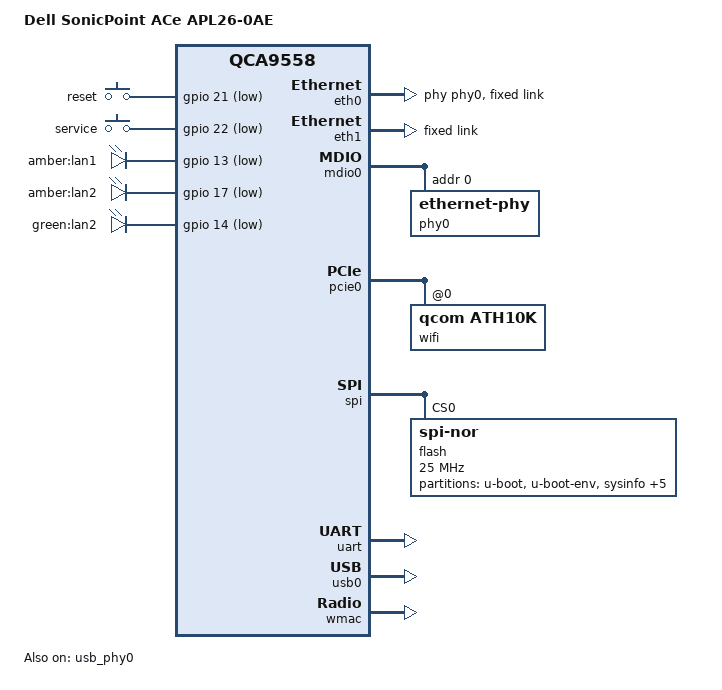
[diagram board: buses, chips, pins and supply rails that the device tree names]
// SPDX-License-Identifier: GPL-2.0-or-later OR MIT

#include <dt-bindings/gpio/gpio.h>
#include <dt-bindings/input/input.h>

#include "qca955x.dtsi"

/ {
	model = "Dell SonicPoint ACe APL26-0AE";
	compatible = "dell,apl26-0ae", "qca,qca9550", "qca,qca9558";

	aliases {
		label-mac-device = &eth0;
		led-boot = &led_lan2_green;
		led-failsafe = &led_lan2_green;
		led-upgrade = &led_lan2_green;
	};

	keys {
		compatible = "gpio-keys";

		reset {
			linux,code = <KEY_RESTART>;
			gpios = <&gpio 21 GPIO_ACTIVE_LOW>;
		};

		/* This key is only accessible after disassembling the casing */
		service {
			linux,code = <KEY_POWER>;
			gpios = <&gpio 22 GPIO_ACTIVE_LOW>;
		};
	};

	leds {
		compatible = "gpio-leds";

		lan1_amber {
			label = "amber:lan1";
			gpios = <&gpio 13 GPIO_ACTIVE_LOW>;
		};

		lan2_amber {
			label = "amber:lan2";
			gpios = <&gpio 17 GPIO_ACTIVE_LOW>;
		};

		led_lan2_green: lan2_green {
			label = "green:lan2";
			gpios = <&gpio 14 GPIO_ACTIVE_LOW>;
		};
	};
};

&eth0 {
	status = "okay";

	mtd-mac-address = <&sysinfo 0x50>;
	phy-handle = <&phy0>;
	pll-data = <0xa6000000 0x00000101 0x00001616>;

	fixed-link {
		speed = <1000>;
		full-duplex;
	};
};

&eth1 {
	status = "okay";

	mtd-mac-address = <&sysinfo 0x50>;
	mtd-mac-address-increment = <1>;
	pll-data = <0x03000101 0x00000101 0x00001616>;

	fixed-link {
		speed = <1000>;
		full-duplex;
	};
};

&mdio0 {
	status = "okay";

	phy0: ethernet-phy@0 {
		reg = <0>;

		qca,ar8327-initvals = <
			0x04 0x07680000
			0x0c 0x00000080
			0x7c 0x0000007e
			0x94 0x0000007e
		>;
	};
};

&pcie0 {
	status = "okay";

	wifi@0,0 {
		compatible = "qcom,ath10k";
		reg = <0x0000 0 0 0 0>;
	};
};

&spi {
	status = "okay";

	num-cs = <1>;

	flash@0 {
		compatible = "jedec,spi-nor";
		reg = <0>;
		spi-max-frequency = <25000000>;
		broken-flash-reset;

		partitions {
			compatible = "fixed-partitions";
			#address-cells = <1>;
			#size-cells = <1>;

			partition@0 {
				label = "u-boot";
				reg = <0x0000000 0x0080000>;
				read-only;
			};

			partition@80000 {
				label = "u-boot-env";
				reg = <0x0080000 0x0040000>;
			};

			sysinfo: partition@c0000 {
				label = "sysinfo";
				reg = <0x00c0000 0x0040000>;
				read-only;
			};

			partition@100000 {
				label = "art";
				reg = <0x0100000 0x0010000>;
				read-only;
			};

			partition@110000 {
				label = "safemode";
				reg = <0x0110000 0x0400000>;
				read-only;
			};

			partition@510000 {
				compatible = "denx,uimage";
				label = "firmware";
				reg = <0x0510000 0x1400000>;
			};

			partition@1910000 {
				label = "config";
				reg = <0x1910000 0x0600000>;
				read-only;
			};

			partition@1f10000 {
				label = "log";
				reg = <0x1f10000 0x00f0000>;
				read-only;
			};
		};
	};
};

&uart {
	status = "okay";
};

&usb_phy0 {
	status = "okay";
};

&usb0 {
	status = "okay";
};

&wmac {
	status = "okay";

	qca,no-eeprom;
};
